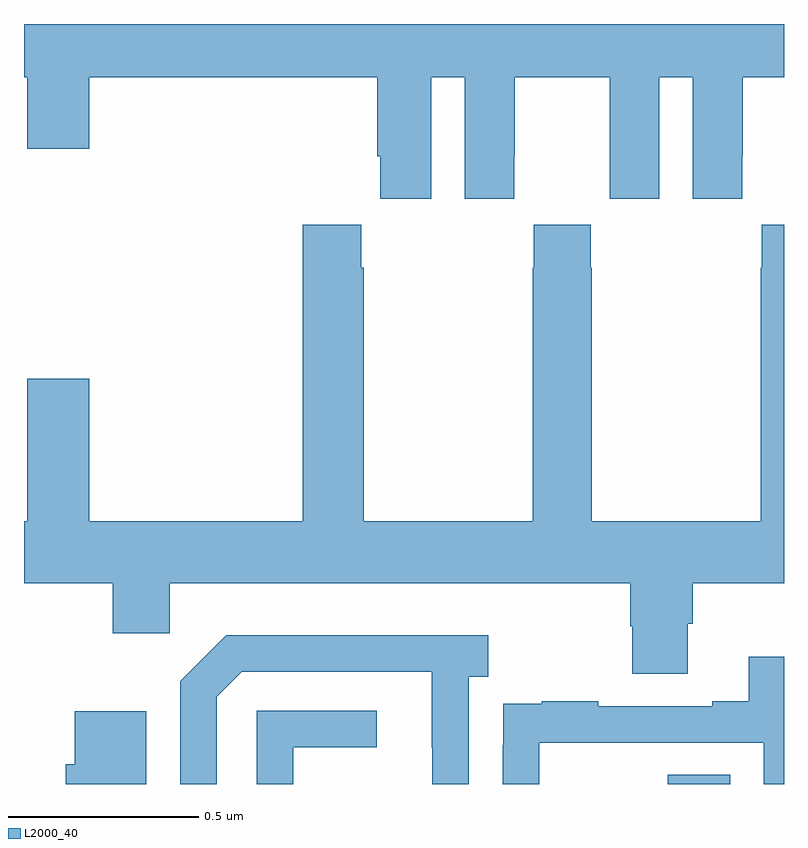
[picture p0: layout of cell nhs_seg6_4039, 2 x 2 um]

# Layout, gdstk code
import gdstk
lib = gdstk.Library(unit=1e-6, precision=1e-09)
def R(c, l, rs):  # rectangles x0, y0, x1, y1
    for r in rs: c.add(gdstk.rectangle(r[:2], r[2:], *l))
def P(c, l, *ps):  # polygons
    for p in ps: c.add(gdstk.Polygon(p, *l))
L2000_40 = (2000, 40)

nhs_seg6_4039 = lib.new_cell('nhs_seg6_4039')
R(nhs_seg6_4039, L2000_40, [(166.694,921.5,166.858,921.524)])
P(nhs_seg6_4039, L2000_40, [(166.072,923.36),(166.16,923.36),(166.16,923.04),(166.29,923.04),(166.29,923.152),(166.291,923.152),(166.291,923.36),(166.541,923.36),(166.541,923.152),(166.542,923.152),(166.542,923.04),(166.672,923.04),(166.672,923.36),(166.76,923.36),(166.76,923.04),(166.89,923.04),(166.89,923.152),(166.891,923.152),(166.891,923.36),(167,923.36),(167,923.5),(165,923.5),(165,923.36),(165.008,923.36),(165.008,923.172),(165.172,923.172),(165.172,923.36),(165.929,923.36),(165.929,923.152),(165.938,923.152),(165.938,923.04),(166.072,923.04)],
  [(165.233,921.897),(165.384,921.897),(165.384,922.028),(166.595,922.028),(166.595,921.915),(166.6,921.915),(166.6,921.79),(166.747,921.79),(166.747,921.922),(166.76,921.922),(166.76,922.028),(167,922.028),(167,922.972),(166.941,922.972),(166.941,922.859),(166.939,922.859),(166.939,922.192),(166.494,922.192),(166.494,922.859),(166.491,922.859),(166.491,922.972),(166.341,922.972),(166.341,922.859),(166.339,922.859),(166.339,922.192),(165.894,922.192),(165.894,922.859),(165.887,922.859),(165.887,922.972),(165.734,922.972),(165.734,922.192),(165.172,922.192),(165.172,922.567),(165.008,922.567),(165.008,922.192),(165,922.192),(165,922.028),(165.233,922.028)],
  [(165.507,921.729),(165.573,921.795),(166.073,921.795),(166.073,921.595),(166.074,921.595),(166.074,921.5),(166.17,921.5),(166.17,921.782),(166.222,921.782),(166.222,921.892),(165.532,921.892),(165.411,921.771),(165.411,921.5),(165.507,921.5)],
  [(166.356,921.609),(166.947,921.609),(166.947,921.5),(167,921.5),(167,921.835),(166.907,921.835),(166.907,921.718),(166.811,921.718),(166.811,921.705),(166.511,921.705),(166.511,921.718),(166.363,921.718),(166.363,921.711),(166.261,921.711),(166.261,921.602),(166.26,921.602),(166.26,921.5),(166.356,921.5)],
  [(165.708,921.597),(165.928,921.597),(165.928,921.693),(165.612,921.693),(165.612,921.5),(165.708,921.5)],
  [(165.322,921.691),(165.134,921.691),(165.134,921.552),(165.11,921.552),(165.11,921.5),(165.322,921.5)])

lib.write_gds('nhs_seg6_4039.gds')
